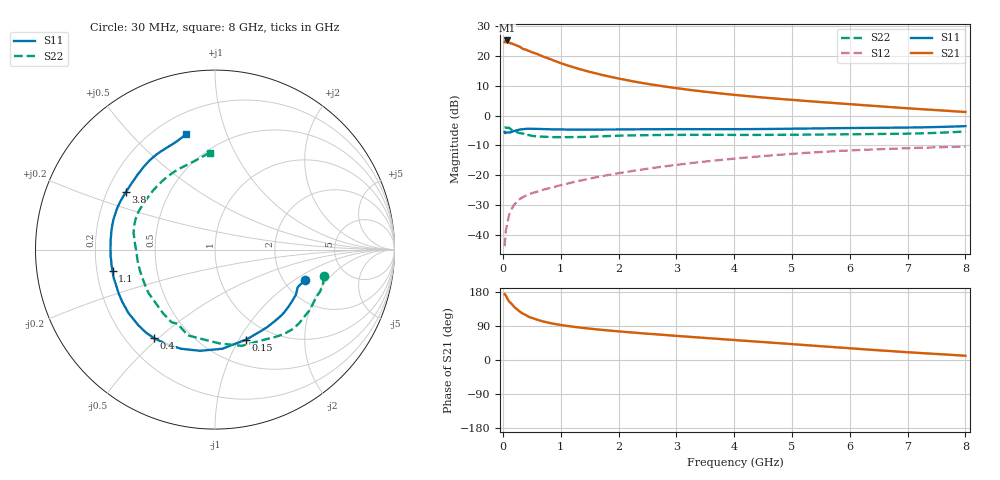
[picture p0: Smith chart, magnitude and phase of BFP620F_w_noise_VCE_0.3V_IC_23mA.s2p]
! Infineon Technologies  Discrete & RF Semiconductors
! BFP620F
! VCE =  0.3 V,  IC =  23 mA
! Common Emitter S-Parameters:  Dec 2014
# GHz  S  MA  R  50
!  f  S11  S21  S12  S22
! GHz  MAG  ANG  MAG  ANG  MAG  ANG  MAG  ANG
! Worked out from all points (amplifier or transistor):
!   95 points, 30 MHz to 8 GHz, reference 50 ohm
!   highest |S21| = 25.2 dB at 70 MHz (marker M1)
!   |S21| within 3 dB of that: start of sweep to 379.6 MHz
!   unconditionally stable (mu >= 1): start of sweep to 54.85 MHz; 1.74 GHz to end of sweep
!   at 300 MHz: K = 0.45, MSG = 25.5 dB, |S12| = -27.9 dB
!   at 3.3 GHz: K = 1.06, MAG = 10.7 dB, |S12| = -15.9 dB
!   at 8 GHz: K = 1.10, MAG = 3.9 dB, |S12| = -10.4 dB
!   lowest NFmin = 0.94 dB at 450 MHz
!   S11 on the Smith chart (normalised r, x): 30 MHz: 2.61, -1.22; 150 MHz: 0.76, -1.07; 400 MHz: 0.31, -0.48; 1.1 GHz: 0.27, -0.10; 3.8 GHz: 0.28, +0.27; 8 GHz: 0.32, +0.73
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0.03  0.5307 -18.5  17.21 173.8  0.0064 70.1  0.627 -13.7
0.04  0.5061 -24.4  16.97 172.5  0.0086 69.9  0.6309 -17.7
0.05  0.5162 -29.1  17.84 170.6  0.0116 66.8  0.6306 -21.7
0.07  0.5191 -38.8  18.29 164.2  0.0152 68.5  0.6234 -28.9
0.09  0.5197 -48.2  17.72 158.6  0.0178 65.0  0.6224 -36.8
0.12  0.5212 -60.7  16.5 152.7  0.023 61.8  0.6095 -49.6
0.15  0.5307 -71.3  16.32 148.3  0.0268 59.8  0.5764 -59.7
0.2  0.5541 -85.8  15.59 139.4  0.0324 56.0  0.5564 -74.5
0.25  0.5699 -98.4  14.94 133.3  0.0364 51.8  0.5232 -87.3
0.35  0.5921 -117.1  13.13 122.0  0.0428 48.3  0.5011 -107.6
0.4  0.5991 -124.6  12.82 118.5  0.0451 47.3  0.4633 -116.6
0.45  0.6015 -130.1  12.18 113.7  0.0475 46.5  0.4716 -121.0
0.7  0.5931 -150.6  9.768 101.6  0.0569 46.4  0.4425 -146.7
1.1  0.5829 -168.3  7.049 90.1  0.0714 48.8  0.4346 -167.7
1.4  0.5828 -176.6  5.775 84.4  0.0832 50.0  0.4379 -177.6
2  0.5851 171.3  4.199 75.6  0.1077 50.3  0.4593 169.7
2.7  0.5903 161.1  3.188 67.2  0.1362 48.2  0.4712 161.5
3.8  0.5909 147.3  2.335 54.9  0.1812 42.4  0.4743 150.5
4.1  0.5917 143.9  2.186 51.6  0.1931 40.3  0.4734 147.0
5.4  0.6087 130.7  1.716 37.5  0.2414 30.5  0.4797 130.5
6.7  0.6258 117.3  1.391 23.6  0.2766 19.6  0.4929 112.9
8  0.6646 104.0  1.149 11.2  0.3009 9.4  0.5417 93.1
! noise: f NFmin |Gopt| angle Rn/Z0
0.45  0.94  0.04  2  0.2
0.9  0.98  0.02  6  0.17
1.5  1  0.01  -9  0.15
1.8  1.02  0.01  -17  0.16
1.9  1.02  0  51  0.16
2.4  1.05  0.03  -153  0.15
3.5  1.13  0.06  -161  0.15
5.5  1.28  0.17  234  0.11
6  1.32  0.16  256  0.14
